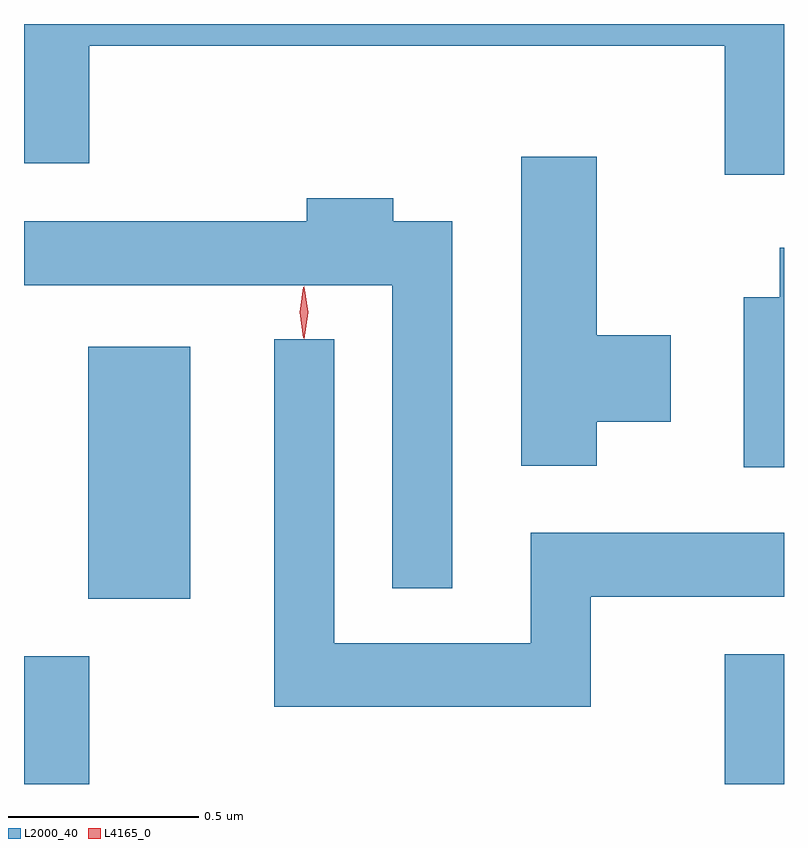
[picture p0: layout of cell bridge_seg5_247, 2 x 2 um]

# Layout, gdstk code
import gdstk
lib = gdstk.Library(unit=1e-6, precision=1e-09)
def R(c, l, rs):  # rectangles x0, y0, x1, y1
    for r in rs: c.add(gdstk.rectangle(r[:2], r[2:], *l))
def P(c, l, *ps):  # polygons
    for p in ps: c.add(gdstk.Polygon(p, *l))
L2000_40 = (2000, 40)
L4165_0 = (4165, 0)

bridge_seg5_247 = lib.new_cell('bridge_seg5_247')
R(bridge_seg5_247, L2000_40, [(1338.787,1425.993,1338.959,1426.329), (1340.631,1425.993,1340.787,1426.334), (1338.956,1426.481,1339.224,1427.144)])
P(bridge_seg5_247, L2000_40, [(1340.787,1427.993),(1338.787,1427.993),(1338.787,1427.626),(1338.959,1427.626),(1338.959,1427.936),(1340.631,1427.936),(1340.631,1427.596),(1340.787,1427.596)],
  [(1340.294,1426.946),(1340.489,1426.946),(1340.489,1427.174),(1340.294,1427.174),(1340.294,1427.644),(1340.096,1427.644),(1340.096,1426.831),(1340.294,1426.831)],
  [(1339.914,1427.474),(1339.759,1427.474),(1339.759,1427.534),(1339.531,1427.534),(1339.531,1427.474),(1338.787,1427.474),(1338.787,1427.306),(1339.756,1427.306),(1339.756,1426.508),(1339.914,1426.508)],
  [(1340.787,1427.404),(1340.776,1427.404),(1340.776,1427.274),(1340.681,1427.274),(1340.681,1426.826),(1340.787,1426.826)],
  [(1340.279,1426.486),(1340.787,1426.486),(1340.787,1426.654),(1340.121,1426.654),(1340.121,1426.364),(1339.604,1426.364),(1339.604,1427.163),(1339.446,1427.163),(1339.446,1426.196),(1340.279,1426.196)])
P(bridge_seg5_247, L4165_0, [(1339.524,1427.164),(1339.515,1427.234),(1339.524,1427.302),(1339.525,1427.303),(1339.525,1427.302),(1339.535,1427.234),(1339.525,1427.164),(1339.525,1427.164)],
  [(1339.522,1427.167),(1339.513,1427.234),(1339.522,1427.3),(1339.523,1427.3),(1339.523,1427.3),(1339.533,1427.234),(1339.523,1427.167),(1339.523,1427.167)])

lib.write_gds('bridge_seg5_247.gds')
